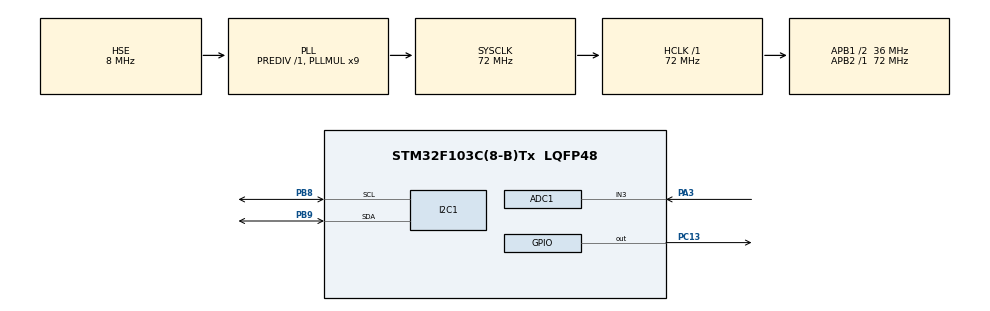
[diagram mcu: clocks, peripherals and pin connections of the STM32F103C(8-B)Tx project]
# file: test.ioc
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ADC1.Channel-0\#ChannelRegularConversion=ADC_CHANNEL_3
ADC1.ContinuousConvMode=ENABLE
ADC1.NbrOfConversionFlag=1
ADC1.Rank-0\#ChannelRegularConversion=1
ADC1.SamplingTime-0\#ChannelRegularConversion=ADC_SAMPLETIME_71CYCLES_5
ADC1.master=1
Dma.ADC1.0.Direction=DMA_PERIPH_TO_MEMORY
Dma.ADC1.0.Instance=DMA1_Channel1
Dma.ADC1.0.MemDataAlignment=DMA_MDATAALIGN_HALFWORD
Dma.ADC1.0.MemInc=DMA_MINC_ENABLE
Dma.ADC1.0.Mode=DMA_NORMAL
Dma.ADC1.0.PeriphDataAlignment=DMA_PDATAALIGN_HALFWORD
Dma.ADC1.0.PeriphInc=DMA_PINC_DISABLE
Dma.ADC1.0.Priority=DMA_PRIORITY_LOW
Dma.Request0=ADC1
I2C1.I2C_Mode=I2C_Fast
Mcu.Family=STM32F1
Mcu.Name=STM32F103C(8-B)Tx
Mcu.Package=LQFP48
NVIC.DMA1_Channel1_IRQn=true\:0\:0\:false\:false\:true\:false\:true\:true
NVIC.PriorityGroup=NVIC_PRIORITYGROUP_4
PA13.Mode=Serial_Wire
PA13.Signal=SYS_JTMS-SWDIO
PA14.Mode=Serial_Wire
PA14.Signal=SYS_JTCK-SWCLK
PA3.Signal=ADCx_IN3
PB8.Mode=I2C
PB8.Signal=I2C1_SCL
PB9.Mode=I2C
PB9.Signal=I2C1_SDA
PC13-TAMPER-RTC.GPIO_ModeDefaultOutputPP=GPIO_MODE_OUTPUT_OD
PC13-TAMPER-RTC.GPIO_PuPd=GPIO_NOPULL
PC13-TAMPER-RTC.Signal=GPIO_Output
PC14-OSC32_IN.Mode=LSE-External-Oscillator
PC14-OSC32_IN.Signal=RCC_OSC32_IN
PC15-OSC32_OUT.Mode=LSE-External-Oscillator
PC15-OSC32_OUT.Signal=RCC_OSC32_OUT
PD0-OSC_IN.Mode=HSE-External-Oscillator
PD0-OSC_IN.Signal=RCC_OSC_IN
PD1-OSC_OUT.Mode=HSE-External-Oscillator
PD1-OSC_OUT.Signal=RCC_OSC_OUT
ProjectManager.HeapSize=0x200
ProjectManager.StackSize=0x400
ProjectManager.TargetToolchain=MDK-ARM V5
RCC.ADCPresc=RCC_ADCPCLK2_DIV6
RCC.AHBFreq_Value=72000000
RCC.APB1CLKDivider=RCC_HCLK_DIV2
RCC.APB1Freq_Value=36000000
RCC.APB1TimFreq_Value=72000000
RCC.APB2Freq_Value=72000000
RCC.APB2TimFreq_Value=72000000
RCC.HCLKFreq_Value=72000000
RCC.PLLMUL=RCC_PLL_MUL9
RCC.PLLSourceVirtual=RCC_PLLSOURCE_HSE
RCC.SYSCLKFreq_VALUE=72000000
RCC.SYSCLKSource=RCC_SYSCLKSOURCE_PLLCLK
RCC.USBFreq_Value=72000000
SH.ADCx_IN3.0=ADC1_IN3,IN3
board=custom

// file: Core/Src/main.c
/* USER CODE BEGIN Header */
/**
  ******************************************************************************
  * @file           : main.c
  * @brief          : Main program body
  ******************************************************************************
  * @attention
  *
  * Copyright (c) 2026 STMicroelectronics.
  * All rights reserved.
  *
  * This software is licensed under terms that can be found in the LICENSE file
  * in the root directory of this software component.
  * If no LICENSE file comes with this software, it is provided AS-IS.
  *
  ******************************************************************************
  */
/* USER CODE END Header */
#include "main.h"
#include "adc.h"
#include "dma.h"
#include "i2c.h"
#include "gpio.h"

/* USER CODE BEGIN Includes */
#include "C:\Users\86138\Desktop\stm32\test\OLED\OLED.h"
/* USER CODE END Includes */

/* USER CODE BEGIN PD */
#define n 1
/* USER CODE END PD */

void SystemClock_Config(void);

int main(void)
{

  /* MCU Configuration--------------------------------------------------------*/

  /* Reset of all peripherals, Initializes the Flash interface and the Systick. */
  HAL_Init();

  /* Configure the system clock */
  SystemClock_Config();

  /* Initialize all configured peripherals */
  MX_GPIO_Init();
  MX_DMA_Init();
  MX_I2C1_Init();
  MX_ADC1_Init();
  /* USER CODE BEGIN 2 */
	OLED_INIT();
	OLED_Clear();
	OLED_Update();
	int value = 0;
	double voltage = 0.0;
	HAL_ADCEx_Calibration_Start(&hadc1);
	HAL_ADC_Start(&hadc1);
	HAL_ADC_PollForConversion(&hadc1,HAL_MAX_DELAY);
  /* USER CODE END 2 */

  /* Infinite loop */
  /* USER CODE BEGIN WHILE */
  while (1)
  {
		value = HAL_ADC_GetValue(&hadc1);
		voltage = (value / 4095.0) * 3.3;
		OLED_Printf(0,0,OLED_8X16,"value:%d",value);
		OLED_Printf(0,17,OLED_8X16,"V:%lf",voltage);
		OLED_Update();
		HAL_Delay(1000);
    /* USER CODE END WHILE */

  }
}

void SystemClock_Config(void)
{
  RCC_OscInitTypeDef RCC_OscInitStruct = {0};
  RCC_ClkInitTypeDef RCC_ClkInitStruct = {0};
  RCC_PeriphCLKInitTypeDef PeriphClkInit = {0};

  /** Initializes the RCC Oscillators according to the specified parameters
  * in the RCC_OscInitTypeDef structure.
  */
  RCC_OscInitStruct.OscillatorType = RCC_OSCILLATORTYPE_HSE;
  RCC_OscInitStruct.HSEState = RCC_HSE_ON;
  RCC_OscInitStruct.HSEPredivValue = RCC_HSE_PREDIV_DIV1;
  RCC_OscInitStruct.HSIState = RCC_HSI_ON;
  RCC_OscInitStruct.PLL.PLLState = RCC_PLL_ON;
  RCC_OscInitStruct.PLL.PLLSource = RCC_PLLSOURCE_HSE;
  RCC_OscInitStruct.PLL.PLLMUL = RCC_PLL_MUL9;
  if (HAL_RCC_OscConfig(&RCC_OscInitStruct) != HAL_OK)
  {
    Error_Handler();
  }

  /** Initializes the CPU, AHB and APB buses clocks
  */
  RCC_ClkInitStruct.ClockType = RCC_CLOCKTYPE_HCLK|RCC_CLOCKTYPE_SYSCLK
                              |RCC_CLOCKTYPE_PCLK1|RCC_CLOCKTYPE_PCLK2;
  RCC_ClkInitStruct.SYSCLKSource = RCC_SYSCLKSOURCE_PLLCLK;
  RCC_ClkInitStruct.AHBCLKDivider = RCC_SYSCLK_DIV1;
  RCC_ClkInitStruct.APB1CLKDivider = RCC_HCLK_DIV2;
  RCC_ClkInitStruct.APB2CLKDivider = RCC_HCLK_DIV1;

  if (HAL_RCC_ClockConfig(&RCC_ClkInitStruct, FLASH_LATENCY_2) != HAL_OK)
  {
    Error_Handler();
  }
  PeriphClkInit.PeriphClockSelection = RCC_PERIPHCLK_ADC;
  PeriphClkInit.AdcClockSelection = RCC_ADCPCLK2_DIV6;
  if (HAL_RCCEx_PeriphCLKConfig(&PeriphClkInit) != HAL_OK)
  {
    Error_Handler();
  }
}

void Error_Handler(void)
{
  __disable_irq();
  while (1)
  {
  }
}
